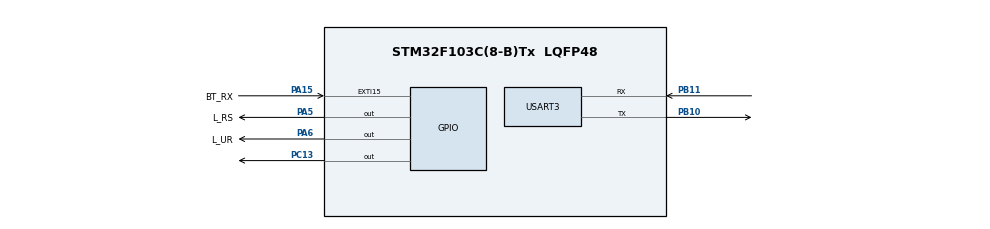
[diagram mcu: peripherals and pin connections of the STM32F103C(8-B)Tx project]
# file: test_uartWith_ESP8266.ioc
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Mcu.Family=STM32F1
Mcu.Name=STM32F103C(8-B)Tx
Mcu.Package=LQFP48
NVIC.EXTI15_10_IRQn=true\:4\:0\:true\:false\:true\:true\:true\:true
NVIC.PriorityGroup=NVIC_PRIORITYGROUP_4
NVIC.USART3_IRQn=true\:0\:0\:false\:false\:true\:true\:true\:true
PA13.Mode=Serial_Wire
PA13.Signal=SYS_JTMS-SWDIO
PA14.Mode=Serial_Wire
PA14.Signal=SYS_JTCK-SWCLK
PA15.GPIO_Label=BT_RX
PA15.GPIO_ModeDefaultEXTI=GPIO_MODE_IT_FALLING
PA15.Signal=GPXTI15
PA5.GPIO_Label=L_RS
PA5.GPIO_PuPd=GPIO_PULLUP
PA5.Signal=GPIO_Output
PA6.GPIO_Label=L_UR
PA6.GPIO_PuPd=GPIO_PULLUP
PA6.Signal=GPIO_Output
PB10.Mode=Asynchronous
PB10.Signal=USART3_TX
PB11.Mode=Asynchronous
PB11.Signal=USART3_RX
PC13-TAMPER-RTC.GPIO_PuPd=GPIO_PULLUP
PC13-TAMPER-RTC.Signal=GPIO_Output
ProjectManager.HeapSize=0x200
ProjectManager.StackSize=0x400
ProjectManager.TargetToolchain=STM32CubeIDE
RCC.APB1Freq_Value=8000000
RCC.APB2Freq_Value=8000000
USART3.VirtualMode=VM_ASYNC
board=custom

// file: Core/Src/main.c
/* USER CODE BEGIN Header */
/**
  ******************************************************************************
  * @file           : main.c
  * @brief          : Main program body
  ******************************************************************************
  * @attention
  *
  * Copyright (c) 2024 STMicroelectronics.
  * All rights reserved.
  *
  * This software is licensed under terms that can be found in the LICENSE file
  * in the root directory of this software component.
  * If no LICENSE file comes with this software, it is provided AS-IS.
  *
  ******************************************************************************
  */
/* USER CODE END Header */
#include "main.h"

UART_HandleTypeDef huart3;

/* USER CODE BEGIN PV */
volatile char rxByte = 0;
uint8_t rxBuffer[20]={0};
volatile uint8_t rxBufferIndex = 0;
volatile uint8_t flag_rx_done = 0;
/* USER CODE END PV */

void SystemClock_Config(void);
static void MX_GPIO_Init(void);
static void MX_USART3_UART_Init(void);

/* USER CODE BEGIN 0 */
void HAL_UART_RxCpltCallback(UART_HandleTypeDef *huart)
{
	if(rxByte == '\r')
	{
		flag_rx_done = 1;
		HAL_GPIO_TogglePin(GPIOC, GPIO_PIN_13);
	}
	else
	{
		rxBuffer[rxBufferIndex] = rxByte;
		rxBufferIndex++;
	}
	if(rxBufferIndex >= 20)
	{
		rxBufferIndex = 0;
	}
	HAL_UART_Receive_IT(&huart3, (uint8_t*)&rxByte, 1);
}
/* USER CODE END 0 */

int main(void)
{

  /* MCU Configuration--------------------------------------------------------*/

  /* Reset of all peripherals, Initializes the Flash interface and the Systick. */
  HAL_Init();

  /* Configure the system clock */
  SystemClock_Config();

  /* Initialize all configured peripherals */
  MX_GPIO_Init();
  MX_USART3_UART_Init();
  /* USER CODE BEGIN 2 */
  HAL_UART_Receive_IT(&huart3, (uint8_t*)&rxByte, 1);
  /* USER CODE END 2 */

  /* Infinite loop */
  /* USER CODE BEGIN WHILE */
  while (1)
  {

	  /*UART handler after uart rx is exexecuted*/
	  if(flag_rx_done == 1)
	  {
		  flag_rx_done = 0;
//		  HAL_GPIO_TogglePin(LED_RESULT_GPIO_Port, LED_RESULT_Pin);
		  /*function handler uart*/
//		  if(UART_handler(rxBuffer, &num_IN_UART, pin_IN_UART) == UART_HANDLER_OKE);
		  /*Reset arr rx*/
		  for(uint8_t i =0; i < sizeof(rxBuffer); i++)
		  {
			  rxBuffer[i] = 0;
		  	  rxBufferIndex = 0;
		  }
	  }
    /* USER CODE END WHILE */

  }
}

void SystemClock_Config(void)
{
  RCC_OscInitTypeDef RCC_OscInitStruct = {0};
  RCC_ClkInitTypeDef RCC_ClkInitStruct = {0};

  /** Initializes the RCC Oscillators according to the specified parameters
  * in the RCC_OscInitTypeDef structure.
  */
  RCC_OscInitStruct.OscillatorType = RCC_OSCILLATORTYPE_HSI;
  RCC_OscInitStruct.HSIState = RCC_HSI_ON;
  RCC_OscInitStruct.HSICalibrationValue = RCC_HSICALIBRATION_DEFAULT;
  RCC_OscInitStruct.PLL.PLLState = RCC_PLL_NONE;
  if (HAL_RCC_OscConfig(&RCC_OscInitStruct) != HAL_OK)
  {
    Error_Handler();
  }

  /** Initializes the CPU, AHB and APB buses clocks
  */
  RCC_ClkInitStruct.ClockType = RCC_CLOCKTYPE_HCLK|RCC_CLOCKTYPE_SYSCLK
                              |RCC_CLOCKTYPE_PCLK1|RCC_CLOCKTYPE_PCLK2;
  RCC_ClkInitStruct.SYSCLKSource = RCC_SYSCLKSOURCE_HSI;
  RCC_ClkInitStruct.AHBCLKDivider = RCC_SYSCLK_DIV1;
  RCC_ClkInitStruct.APB1CLKDivider = RCC_HCLK_DIV1;
  RCC_ClkInitStruct.APB2CLKDivider = RCC_HCLK_DIV1;

  if (HAL_RCC_ClockConfig(&RCC_ClkInitStruct, FLASH_LATENCY_0) != HAL_OK)
  {
    Error_Handler();
  }
}

static void MX_USART3_UART_Init(void)
{

  huart3.Instance = USART3;
  huart3.Init.BaudRate = 115200;
  huart3.Init.WordLength = UART_WORDLENGTH_8B;
  huart3.Init.StopBits = UART_STOPBITS_1;
  huart3.Init.Parity = UART_PARITY_NONE;
  huart3.Init.Mode = UART_MODE_TX_RX;
  huart3.Init.HwFlowCtl = UART_HWCONTROL_NONE;
  huart3.Init.OverSampling = UART_OVERSAMPLING_16;
  if (HAL_UART_Init(&huart3) != HAL_OK)
  {
    Error_Handler();
  }

}

static void MX_GPIO_Init(void)
{
  GPIO_InitTypeDef GPIO_InitStruct = {0};

  /* GPIO Ports Clock Enable */
  __HAL_RCC_GPIOC_CLK_ENABLE();
  __HAL_RCC_GPIOA_CLK_ENABLE();
  __HAL_RCC_GPIOB_CLK_ENABLE();

  /*Configure GPIO pin Output Level */
  HAL_GPIO_WritePin(GPIOC, GPIO_PIN_13, GPIO_PIN_RESET);

  /*Configure GPIO pin Output Level */
  HAL_GPIO_WritePin(GPIOA, L_RS_Pin|L_UR_Pin, GPIO_PIN_RESET);

  /*Configure GPIO pin : PC13 */
  GPIO_InitStruct.Pin = GPIO_PIN_13;
  GPIO_InitStruct.Mode = GPIO_MODE_OUTPUT_PP;
  GPIO_InitStruct.Pull = GPIO_PULLUP;
  GPIO_InitStruct.Speed = GPIO_SPEED_FREQ_LOW;
  HAL_GPIO_Init(GPIOC, &GPIO_InitStruct);

  /*Configure GPIO pins : L_RS_Pin L_UR_Pin */
  GPIO_InitStruct.Pin = L_RS_Pin|L_UR_Pin;
  GPIO_InitStruct.Mode = GPIO_MODE_OUTPUT_PP;
  GPIO_InitStruct.Pull = GPIO_PULLUP;
  GPIO_InitStruct.Speed = GPIO_SPEED_FREQ_LOW;
  HAL_GPIO_Init(GPIOA, &GPIO_InitStruct);

  /*Configure GPIO pin : BT_RX_Pin */
  GPIO_InitStruct.Pin = BT_RX_Pin;
  GPIO_InitStruct.Mode = GPIO_MODE_IT_FALLING;
  GPIO_InitStruct.Pull = GPIO_NOPULL;
  HAL_GPIO_Init(BT_RX_GPIO_Port, &GPIO_InitStruct);

  /* EXTI interrupt init*/
  HAL_NVIC_SetPriority(EXTI15_10_IRQn, 4, 0);
  HAL_NVIC_EnableIRQ(EXTI15_10_IRQn);

}

void Error_Handler(void)
{
  __disable_irq();
  while (1)
  {
  }
}
